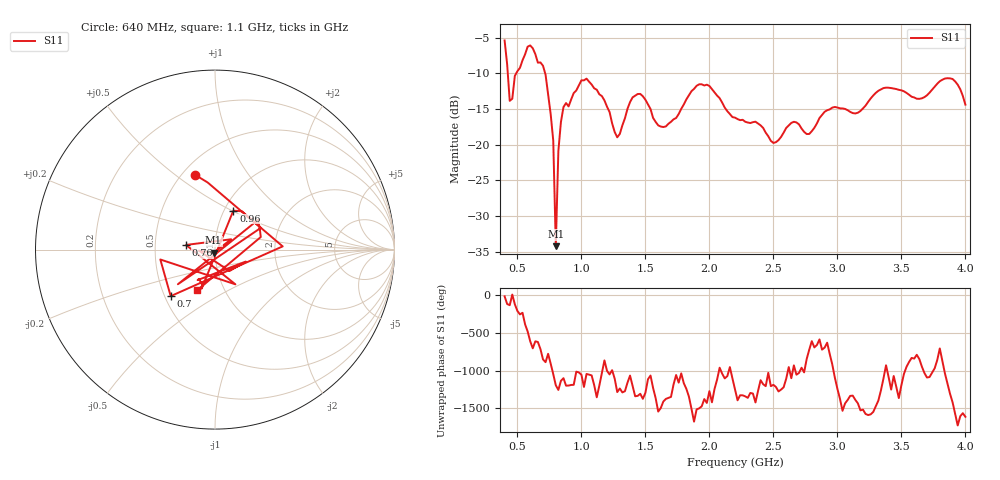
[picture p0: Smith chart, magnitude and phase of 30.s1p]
!Created with skrf (http://scikit-rf.org).
# Hz S RI R 50.0
!freq ReS11 ImS11
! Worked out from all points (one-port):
!   181 points, 400 MHz to 4 GHz, reference 50 ohm
!   lowest |S11| = -34.3 dB at 800 MHz (marker M1), VSWR 1.04, Z = 49.2 - j1.73 ohm
!   |S11| at or under -10 dB: 424.9 MHz to 490.5 MHz (65.61 MHz wide, 14.3 % of centre); 717.1 MHz to end of sweep
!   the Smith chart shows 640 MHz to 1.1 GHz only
!   S11 on the Smith chart (normalised r, x): 640 MHz: 0.58, +0.59; 700 MHz: 0.54, -0.32; 760 MHz: 0.72, +0.04; 960 MHz: 1.10, +0.51; 1.1 GHz: 0.74, -0.36
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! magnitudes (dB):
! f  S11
! 400 MHz  -5.4
! 440 MHz  -13.9
! 580 MHz  -6.2
! 640 MHz  -7.3
! 700 MHz  -8.9
! 760 MHz  -15.7
! 780 MHz  -19.4
! 800 MHz  -34.3
! 820 MHz  -20.9
! 860 MHz  -14.7
! 960 MHz  -12.4
! 1.04 GHz  -10.7
! 1.1 GHz  -12.1
! 1.3 GHz  -18.5
! 1.44 GHz  -12.9
! 1.6 GHz  -17.3
! 1.76 GHz  -15.7
! 1.94 GHz  -11.5
! 2.2 GHz  -16.2
! 2.5 GHz  -19.8
! 2.66 GHz  -16.8
! 2.78 GHz  -18.5
! 2.92 GHz  -15.2
! 3.1 GHz  -15.4
! 3.36 GHz  -12.1
! 3.56 GHz  -13.0
! 3.88 GHz  -10.7
! 4 GHz  -14.4
